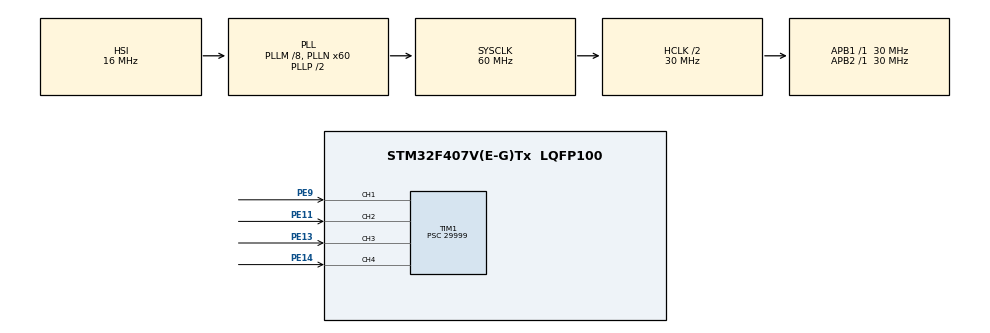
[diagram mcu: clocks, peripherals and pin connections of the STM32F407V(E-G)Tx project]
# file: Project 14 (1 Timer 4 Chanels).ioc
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Dma.Request0=TIM1_CH1
Dma.Request1=TIM1_CH2
Dma.Request2=TIM1_CH3
Dma.Request3=TIM1_CH4/TRIG/COM
Dma.TIM1_CH1.0.Direction=DMA_PERIPH_TO_MEMORY
Dma.TIM1_CH1.0.FIFOMode=DMA_FIFOMODE_DISABLE
Dma.TIM1_CH1.0.Instance=DMA2_Stream1
Dma.TIM1_CH1.0.MemDataAlignment=DMA_MDATAALIGN_HALFWORD
Dma.TIM1_CH1.0.MemInc=DMA_MINC_ENABLE
Dma.TIM1_CH1.0.Mode=DMA_CIRCULAR
Dma.TIM1_CH1.0.PeriphDataAlignment=DMA_PDATAALIGN_HALFWORD
Dma.TIM1_CH1.0.PeriphInc=DMA_PINC_DISABLE
Dma.TIM1_CH1.0.Priority=DMA_PRIORITY_LOW
Dma.TIM1_CH2.1.Direction=DMA_PERIPH_TO_MEMORY
Dma.TIM1_CH2.1.FIFOMode=DMA_FIFOMODE_DISABLE
Dma.TIM1_CH2.1.Instance=DMA2_Stream2
Dma.TIM1_CH2.1.MemDataAlignment=DMA_MDATAALIGN_HALFWORD
Dma.TIM1_CH2.1.MemInc=DMA_MINC_ENABLE
Dma.TIM1_CH2.1.Mode=DMA_CIRCULAR
Dma.TIM1_CH2.1.PeriphDataAlignment=DMA_PDATAALIGN_HALFWORD
Dma.TIM1_CH2.1.PeriphInc=DMA_PINC_DISABLE
Dma.TIM1_CH2.1.Priority=DMA_PRIORITY_LOW
Dma.TIM1_CH3.2.Direction=DMA_PERIPH_TO_MEMORY
Dma.TIM1_CH3.2.FIFOMode=DMA_FIFOMODE_DISABLE
Dma.TIM1_CH3.2.Instance=DMA2_Stream6
Dma.TIM1_CH3.2.MemDataAlignment=DMA_MDATAALIGN_HALFWORD
Dma.TIM1_CH3.2.MemInc=DMA_MINC_ENABLE
Dma.TIM1_CH3.2.Mode=DMA_CIRCULAR
Dma.TIM1_CH3.2.PeriphDataAlignment=DMA_PDATAALIGN_HALFWORD
Dma.TIM1_CH3.2.PeriphInc=DMA_PINC_DISABLE
Dma.TIM1_CH3.2.Priority=DMA_PRIORITY_LOW
Dma.TIM1_CH4/TRIG/COM.3.Direction=DMA_PERIPH_TO_MEMORY
Dma.TIM1_CH4/TRIG/COM.3.FIFOMode=DMA_FIFOMODE_DISABLE
Dma.TIM1_CH4/TRIG/COM.3.Instance=DMA2_Stream4
Dma.TIM1_CH4/TRIG/COM.3.MemDataAlignment=DMA_MDATAALIGN_HALFWORD
Dma.TIM1_CH4/TRIG/COM.3.MemInc=DMA_MINC_ENABLE
Dma.TIM1_CH4/TRIG/COM.3.Mode=DMA_CIRCULAR
Dma.TIM1_CH4/TRIG/COM.3.PeriphDataAlignment=DMA_PDATAALIGN_HALFWORD
Dma.TIM1_CH4/TRIG/COM.3.PeriphInc=DMA_PINC_DISABLE
Dma.TIM1_CH4/TRIG/COM.3.Priority=DMA_PRIORITY_LOW
Mcu.Family=STM32F4
Mcu.Name=STM32F407V(E-G)Tx
Mcu.Package=LQFP100
NVIC.DMA2_Stream1_IRQn=true\:0\:0\:false\:false\:true\:false\:true\:true
NVIC.DMA2_Stream2_IRQn=true\:0\:0\:false\:false\:true\:false\:true\:true
NVIC.DMA2_Stream4_IRQn=true\:0\:0\:false\:false\:true\:false\:true\:true
NVIC.DMA2_Stream6_IRQn=true\:0\:0\:false\:false\:true\:false\:true\:true
NVIC.PriorityGroup=NVIC_PRIORITYGROUP_4
PA0-WKUP.Signal=S_TIM2_CH1_ETR
PA1.Signal=S_TIM2_CH2
PA2.Signal=S_TIM2_CH3
PA3.Signal=S_TIM2_CH4
PE11.Signal=S_TIM1_CH2
PE13.Signal=S_TIM1_CH3
PE14.Signal=S_TIM1_CH4
PE9.Signal=S_TIM1_CH1
ProjectManager.HeapSize=0x200
ProjectManager.StackSize=0x400
ProjectManager.TargetToolchain=MDK-ARM V5.32
RCC.48MHZClocksFreq_Value=30000000
RCC.AHBCLKDivider=RCC_SYSCLK_DIV2
RCC.AHBFreq_Value=30000000
RCC.APB1Freq_Value=30000000
RCC.APB1TimFreq_Value=30000000
RCC.APB2Freq_Value=30000000
RCC.APB2TimFreq_Value=30000000
RCC.CortexFreq_Value=30000000
RCC.HCLKFreq_Value=30000000
RCC.HSE_VALUE=25000000
RCC.HSI_VALUE=16000000
RCC.LSE_VALUE=32768
RCC.PLLM=8
RCC.PLLN=60
RCC.SYSCLKFreq_VALUE=60000000
RCC.SYSCLKSource=RCC_SYSCLKSOURCE_PLLCLK
RCC.VCOOutputFreq_Value=120000000
SH.S_TIM1_CH1.0=TIM1_CH1,Input_Capture1_from_TI1
SH.S_TIM1_CH2.0=TIM1_CH2,Input_Capture2_from_TI2
SH.S_TIM1_CH3.0=TIM1_CH3,Input_Capture3_from_TI3
SH.S_TIM1_CH4.0=TIM1_CH4,Input_Capture4_from_TI4
SH.S_TIM2_CH1_ETR.0=TIM2_CH1
SH.S_TIM2_CH2.0=TIM2_CH2
SH.S_TIM2_CH3.0=TIM2_CH3
SH.S_TIM2_CH4.0=TIM2_CH4
TIM1.Channel-Input_Capture1_from_TI1=TIM_CHANNEL_1
TIM1.Channel-Input_Capture2_from_TI2=TIM_CHANNEL_2
TIM1.Channel-Input_Capture3_from_TI3=TIM_CHANNEL_3
TIM1.Channel-Input_Capture4_from_TI4=TIM_CHANNEL_4
TIM1.ICFilter_CH1=15
TIM1.ICFilter_CH2=15
TIM1.ICFilter_CH3=15
TIM1.ICFilter_CH4=15
TIM1.Prescaler=29999
VP_TIM1_VS_ClockSourceINT.Mode=Internal
board=custom

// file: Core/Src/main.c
/* USER CODE BEGIN Header */
/**
  ******************************************************************************
  * @file           : main.c
  * @brief          : Main program body
  ******************************************************************************
  * @attention
  *
  * Copyright (c) 2023 STMicroelectronics.
  * All rights reserved.
  *
  * This software is licensed under terms that can be found in the LICENSE file
  * in the root directory of this software component.
  * If no LICENSE file comes with this software, it is provided AS-IS.
  *
  ******************************************************************************
  */
/* USER CODE END Header */
#include "main.h"

/* USER CODE BEGIN Includes */
uint32_t counter_TIM1=0, i=0;
uint32_t TIM1_ch1_DMA[1];
uint32_t TIM1_ch2_DMA[1];
uint32_t TIM1_ch3_DMA[1];
uint32_t TIM1_ch4_DMA[1];
/* USER CODE END Includes */

TIM_HandleTypeDef htim1;
DMA_HandleTypeDef hdma_tim1_ch1;
DMA_HandleTypeDef hdma_tim1_ch2;
DMA_HandleTypeDef hdma_tim1_ch3;
DMA_HandleTypeDef hdma_tim1_ch4_trig_com;

void SystemClock_Config(void);
static void MX_GPIO_Init(void);
static void MX_DMA_Init(void);
static void MX_TIM1_Init(void);
/* USER CODE BEGIN PFP */
void HAL_TIM_IC_CaptureCallback(TIM_HandleTypeDef *htim){
	if(htim->Instance == TIM1){
		__HAL_TIM_SetCounter(&htim1, 0);
		i++;

		if(i==15){
			HAL_TIM_IC_Stop_DMA(&htim1, TIM_CHANNEL_1);
			HAL_TIM_IC_Start_DMA(&htim1, TIM_CHANNEL_2, (uint32_t*)TIM1_ch2_DMA, 1);
		}
		if(i==30){
			HAL_TIM_IC_Stop_DMA(&htim1, TIM_CHANNEL_2);
			HAL_TIM_IC_Start_DMA(&htim1, TIM_CHANNEL_3, (uint32_t*)TIM1_ch3_DMA, 1);
		}
		if(i==45){
			HAL_TIM_IC_Stop_DMA(&htim1, TIM_CHANNEL_3);
			HAL_TIM_IC_Start_DMA(&htim1, TIM_CHANNEL_4, (uint32_t*)TIM1_ch4_DMA, 1);
		}
		if(i==60){
			HAL_TIM_IC_Stop_DMA(&htim1, TIM_CHANNEL_4);
			HAL_TIM_IC_Start_DMA(&htim1, TIM_CHANNEL_1, (uint32_t*)TIM1_ch1_DMA, 1);
			i=0;
		}
	}
}
/* USER CODE END PFP */

int main(void)
{

  /* MCU Configuration--------------------------------------------------------*/

  /* Reset of all peripherals, Initializes the Flash interface and the Systick. */
  HAL_Init();

  /* Configure the system clock */
  SystemClock_Config();

  /* Initialize all configured peripherals */
  MX_GPIO_Init();
  MX_DMA_Init();
  MX_TIM1_Init();
  /* USER CODE BEGIN 2 */
	HAL_TIM_IC_Start_DMA(&htim1, TIM_CHANNEL_1, (uint32_t*)TIM1_ch1_DMA, 1);
  /* USER CODE END 2 */

  /* Infinite loop */
  while (1)
  {

    /* USER CODE BEGIN 3 */
		counter_TIM1 = __HAL_TIM_GetCounter(&htim1);
  }
  /* USER CODE END 3 */
}

void SystemClock_Config(void)
{
  RCC_OscInitTypeDef RCC_OscInitStruct = {0};
  RCC_ClkInitTypeDef RCC_ClkInitStruct = {0};

  /** Configure the main internal regulator output voltage
  */
  __HAL_RCC_PWR_CLK_ENABLE();
  __HAL_PWR_VOLTAGESCALING_CONFIG(PWR_REGULATOR_VOLTAGE_SCALE1);

  /** Initializes the RCC Oscillators according to the specified parameters
  * in the RCC_OscInitTypeDef structure.
  */
  RCC_OscInitStruct.OscillatorType = RCC_OSCILLATORTYPE_HSI;
  RCC_OscInitStruct.HSIState = RCC_HSI_ON;
  RCC_OscInitStruct.HSICalibrationValue = RCC_HSICALIBRATION_DEFAULT;
  RCC_OscInitStruct.PLL.PLLState = RCC_PLL_ON;
  RCC_OscInitStruct.PLL.PLLSource = RCC_PLLSOURCE_HSI;
  RCC_OscInitStruct.PLL.PLLM = 8;
  RCC_OscInitStruct.PLL.PLLN = 60;
  RCC_OscInitStruct.PLL.PLLP = RCC_PLLP_DIV2;
  RCC_OscInitStruct.PLL.PLLQ = 4;
  if (HAL_RCC_OscConfig(&RCC_OscInitStruct) != HAL_OK)
  {
    Error_Handler();
  }

  /** Initializes the CPU, AHB and APB buses clocks
  */
  RCC_ClkInitStruct.ClockType = RCC_CLOCKTYPE_HCLK|RCC_CLOCKTYPE_SYSCLK
                              |RCC_CLOCKTYPE_PCLK1|RCC_CLOCKTYPE_PCLK2;
  RCC_ClkInitStruct.SYSCLKSource = RCC_SYSCLKSOURCE_PLLCLK;
  RCC_ClkInitStruct.AHBCLKDivider = RCC_SYSCLK_DIV2;
  RCC_ClkInitStruct.APB1CLKDivider = RCC_HCLK_DIV1;
  RCC_ClkInitStruct.APB2CLKDivider = RCC_HCLK_DIV1;

  if (HAL_RCC_ClockConfig(&RCC_ClkInitStruct, FLASH_LATENCY_0) != HAL_OK)
  {
    Error_Handler();
  }
}

static void MX_TIM1_Init(void)
{

  TIM_ClockConfigTypeDef sClockSourceConfig = {0};
  TIM_MasterConfigTypeDef sMasterConfig = {0};
  TIM_IC_InitTypeDef sConfigIC = {0};

  htim1.Instance = TIM1;
  htim1.Init.Prescaler = 29999;
  htim1.Init.CounterMode = TIM_COUNTERMODE_UP;
  htim1.Init.Period = 65535;
  htim1.Init.ClockDivision = TIM_CLOCKDIVISION_DIV1;
  htim1.Init.RepetitionCounter = 0;
  htim1.Init.AutoReloadPreload = TIM_AUTORELOAD_PRELOAD_DISABLE;
  if (HAL_TIM_Base_Init(&htim1) != HAL_OK)
  {
    Error_Handler();
  }
  sClockSourceConfig.ClockSource = TIM_CLOCKSOURCE_INTERNAL;
  if (HAL_TIM_ConfigClockSource(&htim1, &sClockSourceConfig) != HAL_OK)
  {
    Error_Handler();
  }
  if (HAL_TIM_IC_Init(&htim1) != HAL_OK)
  {
    Error_Handler();
  }
  sMasterConfig.MasterOutputTrigger = TIM_TRGO_RESET;
  sMasterConfig.MasterSlaveMode = TIM_MASTERSLAVEMODE_DISABLE;
  if (HAL_TIMEx_MasterConfigSynchronization(&htim1, &sMasterConfig) != HAL_OK)
  {
    Error_Handler();
  }
  sConfigIC.ICPolarity = TIM_INPUTCHANNELPOLARITY_RISING;
  sConfigIC.ICSelection = TIM_ICSELECTION_DIRECTTI;
  sConfigIC.ICPrescaler = TIM_ICPSC_DIV1;
  sConfigIC.ICFilter = 15;
  if (HAL_TIM_IC_ConfigChannel(&htim1, &sConfigIC, TIM_CHANNEL_1) != HAL_OK)
  {
    Error_Handler();
  }
  if (HAL_TIM_IC_ConfigChannel(&htim1, &sConfigIC, TIM_CHANNEL_2) != HAL_OK)
  {
    Error_Handler();
  }
  if (HAL_TIM_IC_ConfigChannel(&htim1, &sConfigIC, TIM_CHANNEL_3) != HAL_OK)
  {
    Error_Handler();
  }
  if (HAL_TIM_IC_ConfigChannel(&htim1, &sConfigIC, TIM_CHANNEL_4) != HAL_OK)
  {
    Error_Handler();
  }

}

static void MX_DMA_Init(void)
{

  /* DMA controller clock enable */
  __HAL_RCC_DMA2_CLK_ENABLE();

  /* DMA interrupt init */
  /* DMA2_Stream1_IRQn interrupt configuration */
  HAL_NVIC_SetPriority(DMA2_Stream1_IRQn, 0, 0);
  HAL_NVIC_EnableIRQ(DMA2_Stream1_IRQn);
  /* DMA2_Stream2_IRQn interrupt configuration */
  HAL_NVIC_SetPriority(DMA2_Stream2_IRQn, 0, 0);
  HAL_NVIC_EnableIRQ(DMA2_Stream2_IRQn);
  /* DMA2_Stream4_IRQn interrupt configuration */
  HAL_NVIC_SetPriority(DMA2_Stream4_IRQn, 0, 0);
  HAL_NVIC_EnableIRQ(DMA2_Stream4_IRQn);
  /* DMA2_Stream6_IRQn interrupt configuration */
  HAL_NVIC_SetPriority(DMA2_Stream6_IRQn, 0, 0);
  HAL_NVIC_EnableIRQ(DMA2_Stream6_IRQn);

}

static void MX_GPIO_Init(void)
{
  GPIO_InitTypeDef GPIO_InitStruct = {0};

  /* GPIO Ports Clock Enable */
  __HAL_RCC_GPIOA_CLK_ENABLE();
  __HAL_RCC_GPIOE_CLK_ENABLE();

  /*Configure GPIO pins : PA0 PA1 PA2 PA3 */
  GPIO_InitStruct.Pin = GPIO_PIN_0|GPIO_PIN_1|GPIO_PIN_2|GPIO_PIN_3;
  GPIO_InitStruct.Mode = GPIO_MODE_AF_PP;
  GPIO_InitStruct.Pull = GPIO_NOPULL;
  GPIO_InitStruct.Speed = GPIO_SPEED_FREQ_LOW;
  GPIO_InitStruct.Alternate = GPIO_AF1_TIM2;
  HAL_GPIO_Init(GPIOA, &GPIO_InitStruct);

}

void Error_Handler(void)
{
  __disable_irq();
  while (1)
  {
  }
}
